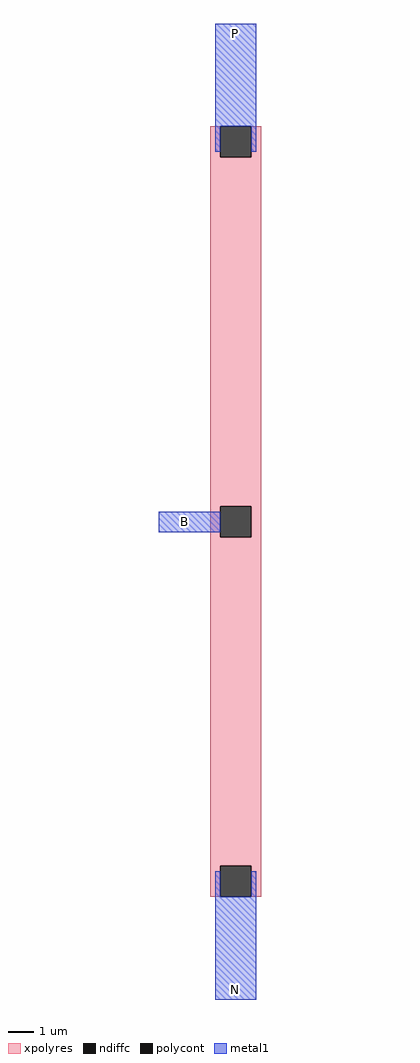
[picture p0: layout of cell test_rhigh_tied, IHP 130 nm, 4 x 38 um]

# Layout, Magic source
magic
tech ihp-sg13g2
<< ndiffc >>
rect 1040 2400 1160 2520
<< polycont >>
rect 1040 3880 1160 4000
rect 1040 1000 1160 1120
<< xpolyres >>
rect 1000 3880 1040 4000
rect 1160 3880 1200 4000
rect 1000 2520 1200 3880
rect 1000 2400 1040 2520
rect 1160 2400 1200 2520
rect 1000 1120 1200 2400
rect 1000 1000 1040 1120
rect 1160 1000 1200 1120
<< metal1 >>
rect 1020 4000 1180 4400
rect 1020 3900 1040 4000
rect 1160 3900 1180 4000
rect 800 2420 1040 2500
rect 1020 1000 1040 1100
rect 1160 1000 1180 1100
rect 1020 600 1180 1000
<< labels >>
rlabel metal1 1040 4320 1160 4400 1 P
port 1 n
rlabel metal1 1040 600 1160 680 1 N
port 2 n
rlabel metal1 820 2420 980 2500 1 B
port 3 n
<< end >>
